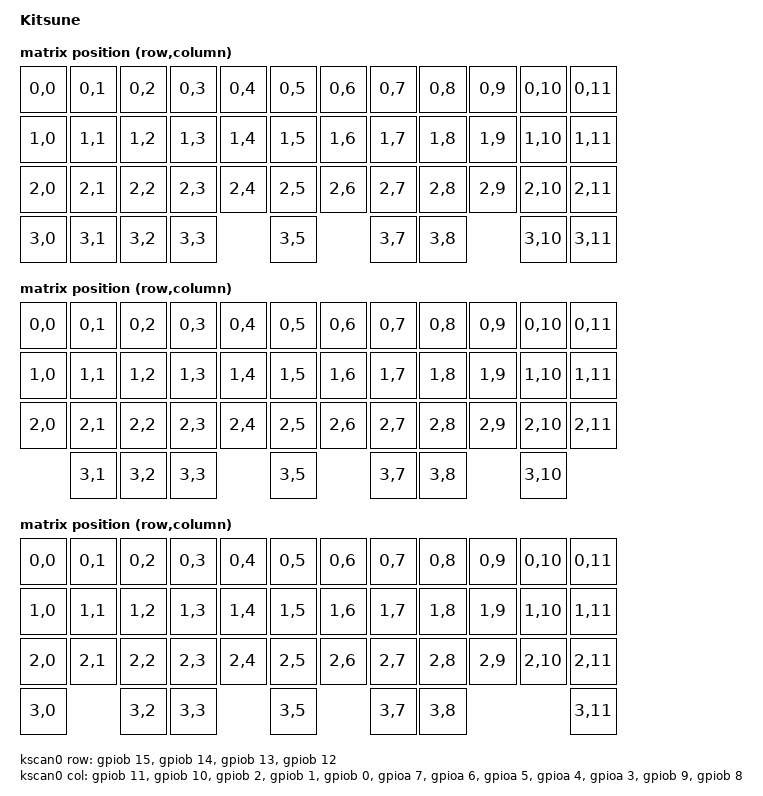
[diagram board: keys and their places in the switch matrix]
/dts-v1/;
#include "kitsune.dtsi"
#include <dt-bindings/zmk/matrix_transform.h>
#include <layouts/artifact_creatives/kitsune/kitsune_default.dtsi>
#include <layouts/artifact_creatives/kitsune/kitsune_ckl.dtsi>
#include <layouts/artifact_creatives/kitsune/kitsune_tsangan.dtsi>
#include <layouts/artifact_creatives/kitsune/kitsune_wkl.dtsi>
#include <layouts/artifact_creatives/kitsune/kitsune_hhkb.dtsi>

/ {
    model = "Kitsune";
    compatible = "kitsune", "st,stm32f072";

    chosen {
        zmk,kscan = &kscan0;

        zmk,physical-layout = &layout_kitsune_default;
    };

    kscan0: kscan {
        compatible = "zmk,kscan-gpio-matrix";

        diode-direction = "col2row";

        row-gpios
            = <&gpiob 15 (GPIO_ACTIVE_HIGH | GPIO_PULL_DOWN)>
            , <&gpiob 14 (GPIO_ACTIVE_HIGH | GPIO_PULL_DOWN)>
            , <&gpiob 13 (GPIO_ACTIVE_HIGH | GPIO_PULL_DOWN)>
            , <&gpiob 12 (GPIO_ACTIVE_HIGH | GPIO_PULL_DOWN)>
            ;
        col-gpios
            = <&gpiob 11 GPIO_ACTIVE_HIGH>
            , <&gpiob 10 GPIO_ACTIVE_HIGH>
            , <&gpiob 2  GPIO_ACTIVE_HIGH>
            , <&gpiob 1  GPIO_ACTIVE_HIGH>
            , <&gpiob 0  GPIO_ACTIVE_HIGH>
            , <&gpioa 7  GPIO_ACTIVE_HIGH>
            , <&gpioa 6  GPIO_ACTIVE_HIGH>
            , <&gpioa 5  GPIO_ACTIVE_HIGH>
            , <&gpioa 4  GPIO_ACTIVE_HIGH>
            , <&gpioa 3  GPIO_ACTIVE_HIGH>
            , <&gpiob 9  GPIO_ACTIVE_HIGH>
            , <&gpiob 8  GPIO_ACTIVE_HIGH>
            ;
    };

    full_transform: keymap_transform_0 {
        compatible = "zmk,matrix-transform";
        columns = <12>;
        rows = <4>;
        map = <
RC(0,0) RC(0,1) RC(0,2) RC(0,3) RC(0,4) RC(0,5) RC(0,6) RC(0,7) RC(0,8) RC(0,9) RC(0,10) RC(0,11)
RC(1,0) RC(1,1) RC(1,2) RC(1,3) RC(1,4) RC(1,5) RC(1,6) RC(1,7) RC(1,8) RC(1,9) RC(1,10) RC(1,11)
RC(2,0) RC(2,1) RC(2,2) RC(2,3) RC(2,4) RC(2,5) RC(2,6) RC(2,7) RC(2,8) RC(2,9) RC(2,10) RC(2,11)
RC(3,0) RC(3,1) RC(3,2) RC(3,3)         RC(3,5)         RC(3,7) RC(3,8)         RC(3,10) RC(3,11)
        >;
    };

    ckl_transform: keymap_transform_1 {
        compatible = "zmk,matrix-transform";
        columns = <12>;
        rows = <4>;
        map = <
RC(0,0) RC(0,1) RC(0,2) RC(0,3) RC(0,4) RC(0,5) RC(0,6) RC(0,7) RC(0,8) RC(0,9) RC(0,10) RC(0,11)
RC(1,0) RC(1,1) RC(1,2) RC(1,3) RC(1,4) RC(1,5) RC(1,6) RC(1,7) RC(1,8) RC(1,9) RC(1,10) RC(1,11)
RC(2,0) RC(2,1) RC(2,2) RC(2,3) RC(2,4) RC(2,5) RC(2,6) RC(2,7) RC(2,8) RC(2,9) RC(2,10) RC(2,11)
        RC(3,1) RC(3,2) RC(3,3)         RC(3,5)         RC(3,7) RC(3,8)         RC(3,10)
        >;
    };

    wkl_transform: keymap_transform_2 {
        compatible = "zmk,matrix-transform";
        columns = <12>;
        rows = <4>;
        map = <
RC(0,0) RC(0,1) RC(0,2) RC(0,3) RC(0,4) RC(0,5) RC(0,6) RC(0,7) RC(0,8) RC(0,9) RC(0,10) RC(0,11)
RC(1,0) RC(1,1) RC(1,2) RC(1,3) RC(1,4) RC(1,5) RC(1,6) RC(1,7) RC(1,8) RC(1,9) RC(1,10) RC(1,11)
RC(2,0) RC(2,1) RC(2,2) RC(2,3) RC(2,4) RC(2,5) RC(2,6) RC(2,7) RC(2,8) RC(2,9) RC(2,10) RC(2,11)
RC(3,0)         RC(3,2) RC(3,3)         RC(3,5)         RC(3,7) RC(3,8)                  RC(3,11)
        >;
    };
};

&layout_kitsune_default {
    transform = <&full_transform>;
};

&layout_kitsune_ckl {
    transform = <&ckl_transform>;
};

&layout_kitsune_tsangan {
    transform = <&full_transform>;
};

&layout_kitsune_wkl {
    transform = <&wkl_transform>;
};

&layout_kitsune_hhkb {
    transform = <&ckl_transform>;
};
